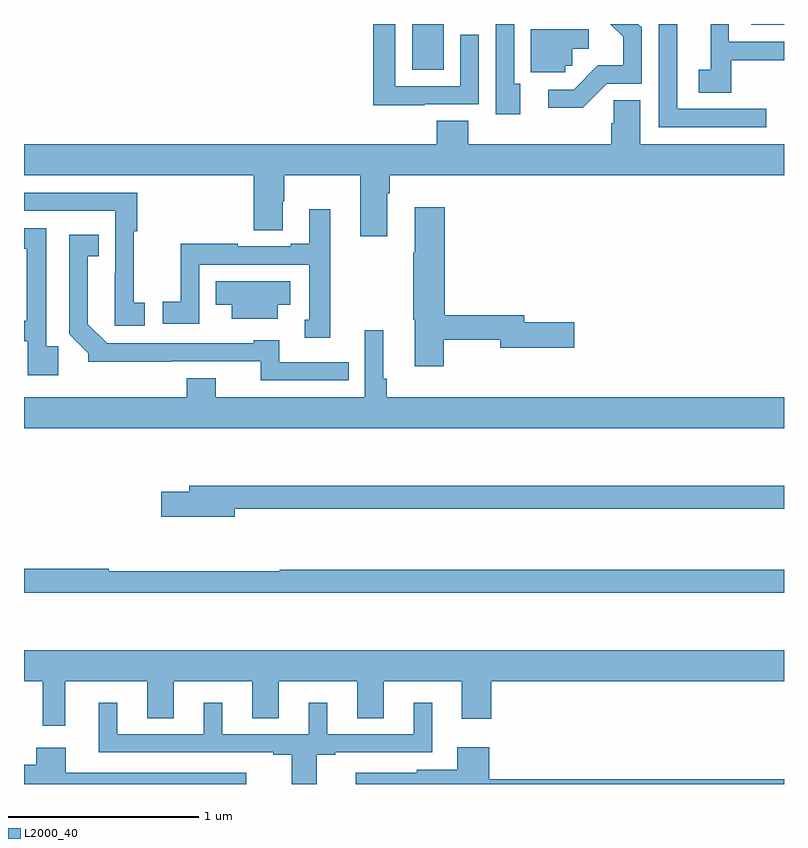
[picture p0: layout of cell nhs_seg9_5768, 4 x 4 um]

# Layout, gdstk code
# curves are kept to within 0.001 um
import gdstk
lib = gdstk.Library(unit=1e-6, precision=1e-09)
def R(c, l, rs):  # rectangles x0, y0, x1, y1
    for r in rs: c.add(gdstk.rectangle(r[:2], r[2:], *l))
def P(c, l, *ps):  # polygons
    for p in ps: c.add(gdstk.Polygon(p, *l))
L2000_40 = (2000, 40)

nhs_seg9_5768 = lib.new_cell('nhs_seg9_5768')
R(nhs_seg9_5768, L2000_40, [(447.044,1246.258,447.208,1246.5), (448.827,1246.497,449,1246.5)])
P(nhs_seg9_5768, L2000_40, [(447.109,1246.077),(447.393,1246.077),(447.393,1246.444),(447.297,1246.444),(447.297,1246.173),(446.955,1246.173),(446.955,1246.5),(446.839,1246.5),(446.839,1246.073),(447.109,1246.073)],
  [(448.723,1246.309),(449,1246.309),(449,1246.407),(448.71,1246.407),(448.71,1246.5),(448.614,1246.5),(448.614,1246.26),(448.551,1246.26),(448.551,1246.138),(448.723,1246.138)],
  [(448.068,1246.185),(448.251,1246.185),(448.251,1246.483),(448.234,1246.5),(448.086,1246.5),(448.154,1246.432),(448.154,1246.282),(448.021,1246.282),(447.894,1246.155),(447.759,1246.155),(447.759,1246.058),(447.94,1246.058)],
  [(448.906,1246.053),(448.438,1246.053),(448.438,1246.5),(448.341,1246.5),(448.341,1245.957),(448.906,1245.957)],
  [(447.613,1246.186),(447.579,1246.186),(447.579,1246.5),(447.483,1246.5),(447.483,1246.026),(447.613,1246.026)],
  [(447.849,1246.281),(447.885,1246.281),(447.885,1246.37),(447.973,1246.37),(447.973,1246.473),(447.668,1246.473),(447.668,1246.245),(447.849,1246.245)],
  [(449,1245.868),(448.243,1245.868),(448.243,1246.1),(448.105,1246.1),(448.105,1245.978),(448.091,1245.978),(448.091,1245.868),(447.338,1245.868),(447.338,1245.992),(447.173,1245.992),(447.173,1245.868),(445,1245.868),(445,1245.704),(446.21,1245.704),(446.21,1245.415),(446.362,1245.415),(446.362,1245.566),(446.37,1245.566),(446.37,1245.704),(446.771,1245.704),(446.771,1245.384),(446.911,1245.384),(446.911,1245.608),(446.924,1245.608),(446.924,1245.704),(449,1245.704)],
  [(445.636,1245.033),(445.578,1245.033),(445.578,1245.409),(445.595,1245.409),(445.595,1245.612),(445,1245.612),(445,1245.516),(445.479,1245.516),(445.479,1245.188),(445.478,1245.188),(445.478,1244.913),(445.636,1244.913)],
  [(447.21,1244.838),(447.506,1244.838),(447.506,1244.795),(447.895,1244.795),(447.895,1244.93),(447.634,1244.93),(447.634,1244.966),(447.215,1244.966),(447.215,1245.535),(447.056,1245.535),(447.056,1245.296),(447.049,1245.296),(447.049,1244.943),(447.056,1244.943),(447.056,1244.7),(447.21,1244.7)],
  [(446.611,1245.526),(446.501,1245.526),(446.501,1245.343),(446.405,1245.343),(446.405,1245.33),(446.126,1245.33),(446.126,1245.343),(445.825,1245.343),(445.825,1245.038),(445.731,1245.038),(445.731,1244.922),(445.923,1244.922),(445.923,1245.234),(446.502,1245.234),(446.502,1244.943),(446.477,1244.943),(446.477,1244.849),(446.611,1244.849)],
  [(445.181,1244.803),(445.116,1244.803),(445.116,1245.426),(445,1245.426),(445,1245.318),(445.015,1245.318),(445.015,1244.938),(445,1244.938),(445,1244.829),(445.02,1244.829),(445.02,1244.652),(445.181,1244.652)],
  [(446.708,1244.721),(446.344,1244.721),(446.344,1244.836),(446.208,1244.836),(446.208,1244.82),(445.437,1244.82),(445.336,1244.921),(445.336,1245.278),(445.394,1245.278),(445.394,1245.391),(445.239,1245.391),(445.239,1244.866),(445.338,1244.767),(445.338,1244.723),(446.245,1244.724),(446.245,1244.625),(446.708,1244.625)],
  [(446.335,1245.023),(446.401,1245.023),(446.401,1245.145),(446.008,1245.145),(446.008,1245.023),(446.093,1245.023),(446.093,1244.948),(446.335,1244.948)],
  [(449,1244.536),(446.909,1244.536),(446.909,1244.632),(446.89,1244.632),(446.89,1244.887),(446.793,1244.887),(446.793,1244.536),(446.008,1244.536),(446.008,1244.635),(445.856,1244.635),(445.856,1244.536),(445,1244.536),(445,1244.372),(449,1244.372)],
  [(446.11,1243.95),(449,1243.95),(449,1244.071),(445.871,1244.071),(445.871,1244.037),(445.722,1244.037),(445.722,1243.907),(446.11,1243.907)],
  [(449,1243.627),(446.345,1243.627),(446.345,1243.619),(445.445,1243.619),(445.445,1243.634),(445,1243.634),(445,1243.506),(449,1243.506)],
  [(445.217,1243.04),(445.649,1243.04),(445.649,1242.847),(445.789,1242.847),(445.789,1243.04),(446.201,1243.04),(446.201,1242.847),(446.341,1242.847),(446.341,1243.04),(446.753,1243.04),(446.753,1242.847),(446.893,1242.847),(446.893,1243.04),(447.305,1243.04),(447.305,1242.843),(447.458,1242.843),(447.458,1243.04),(449,1243.04),(449,1243.204),(445,1243.204),(445,1243.04),(445.099,1243.04),(445.099,1242.807),(445.217,1242.807)],
  [(446.542,1242.654),(446.638,1242.654),(446.638,1242.666),(447.148,1242.666),(447.148,1242.928),(447.05,1242.928),(447.05,1242.762),(446.596,1242.762),(446.596,1242.928),(446.498,1242.928),(446.498,1242.762),(446.044,1242.762),(446.044,1242.928),(445.946,1242.928),(445.946,1242.762),(445.492,1242.762),(445.492,1242.928),(445.394,1242.928),(445.394,1242.666),(446.312,1242.666),(446.312,1242.654),(446.408,1242.654),(446.408,1242.5),(446.542,1242.5)],
  [(449,1242.524),(447.448,1242.524),(447.448,1242.694),(447.281,1242.694),(447.281,1242.574),(447.066,1242.574),(447.066,1242.559),(446.745,1242.559),(446.745,1242.5),(449,1242.5)],
  [(446.17,1242.558),(445.219,1242.558),(445.219,1242.691),(445.064,1242.691),(445.064,1242.601),(445,1242.601),(445,1242.5),(446.17,1242.5)])

lib.write_gds('nhs_seg9_5768.gds')
